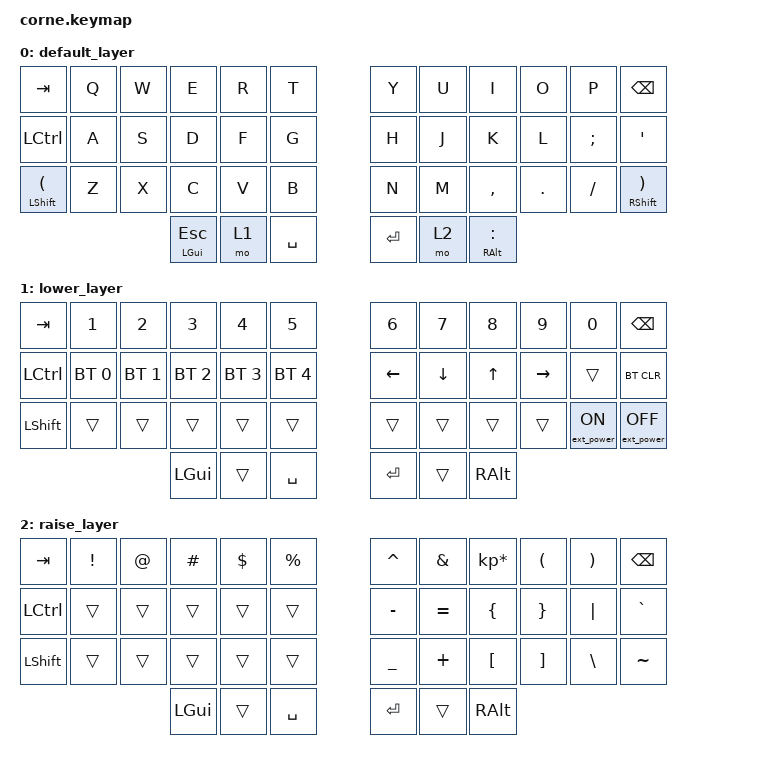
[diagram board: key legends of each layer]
/*
 * Copyright (c) 2020 The ZMK Contributors
 *
 * SPDX-License-Identifier: MIT
 */

#include <behaviors.dtsi>
#include <dt-bindings/zmk/keys.h>
#include <dt-bindings/zmk/bt.h>
#include <dt-bindings/zmk/ext_power.h>

/ {
        keymap {
                compatible = "zmk,keymap";

                default_layer {
// -----------------------------------------------------------------------------------------
// |  TAB  |  Q  |  W  |  E  |  R  |  T  |   |  Y  |  U   |  I  |  O  |  P  | BKSP  |
// | CTRL  |  A  |  S  |  D  |  F  |  G  |   |  H  |  J   |  K  |  L  |  ;  |  '    |
// | PSHFT |  Z  |  X  |  C  |  V  |  B  |   |  N  |  M   |  ,  |  .  |  /  | PSHFT |
//                     | GUI | LWR | SPC |   | ENT | RSE  | CALT|
                        bindings = <
   &kp TAB         &kp Q  &kp W  &kp E        &kp R &kp T        &kp Y    &kp U  &kp I      &kp O    &kp P     &kp BSPC
   &kp LCTRL       &kp A  &kp S  &kp D        &kp F &kp G        &kp H    &kp J  &kp K      &kp L    &kp SEMI  &kp SQT
   &mt LSHFT LPAR  &kp Z  &kp X  &kp C        &kp V &kp B        &kp N    &kp M  &kp COMMA  &kp DOT  &kp FSLH  &mt RSHFT RPAR
                                 &mt LGUI ESC &mo 1 &kp SPACE    &kp RET  &mo 2  &mt RALT COLON
                        >;
                };
                lower_layer {
// -----------------------------------------------------------------------------------------
// |  TAB |  1  |  2  |  3  |  4  |  5  |   |  6  |  7  |  8  |  9  |  0    | BKSP   |
// | CTRL | BT1 | BT2 | BT3 | BT4 | BT5 |   | LFT | DWN |  UP | RGT |       | BTCLR  |
// | SHFT |     |     |     |     |     |   |     |     |     |     | EP_ON | EP_OFF |
//                    | GUI |     | SPC |   | ENT |     | ALT |
                        bindings = <
   &kp TAB    &kp N1       &kp N2       &kp N3       &kp N4       &kp N5         &kp N6   &kp N7   &kp N8 &kp N9    &kp N0            &kp BSPC
   &kp LCTRL  &bt BT_SEL 0 &bt BT_SEL 1 &bt BT_SEL 2 &bt BT_SEL 3 &bt BT_SEL 4   &kp LEFT &kp DOWN &kp UP &kp RIGHT &trans            &bt BT_CLR
   &kp LSHFT  &trans       &trans       &trans       &trans       &trans         &trans   &trans   &trans &trans    &ext_power EP_ON  &ext_power EP_OFF
                          	        &kp LGUI     &trans       &kp SPACE      &kp RET  &trans   &kp RALT
                        >;
                };

                raise_layer {
// -----------------------------------------------------------------------------------------
// |  TAB |  !  |  @  |  #  |  $  |  %  |   |  ^  |  &  |  *  |  (  |  )  | BKSP |
// | CTRL |     |     |     |     |     |   |  -  |  =  |  {  |  }  | "|" |  `   |
// | SHFT |     |     |     |     |     |   |  _  |  +  |  [  |  ]  |  \  |  ~   |
//                    | GUI |     | SPC |   | ENT |     | ALT |
                        bindings = <
   &kp  TAB  &kp EXCL &kp AT &kp HASH &kp DLLR &kp PRCNT   &kp CARET &kp AMPS  &kp KP_MULTIPLY &kp LPAR &kp RPAR &kp BSPC
   &kp LCTRL &trans   &trans &trans   &trans   &trans      &kp MINUS &kp EQUAL &kp LBRC        &kp RBRC &kp PIPE &kp GRAVE
   &kp LSHFT &trans   &trans &trans   &trans   &trans      &kp UNDER &kp PLUS  &kp LBKT        &kp RBKT &kp BSLH &kp TILDE
                    	     &kp LGUI &trans   &kp SPACE   &kp RET   &trans    &kp RALT
                        >;
                };
        };
};
